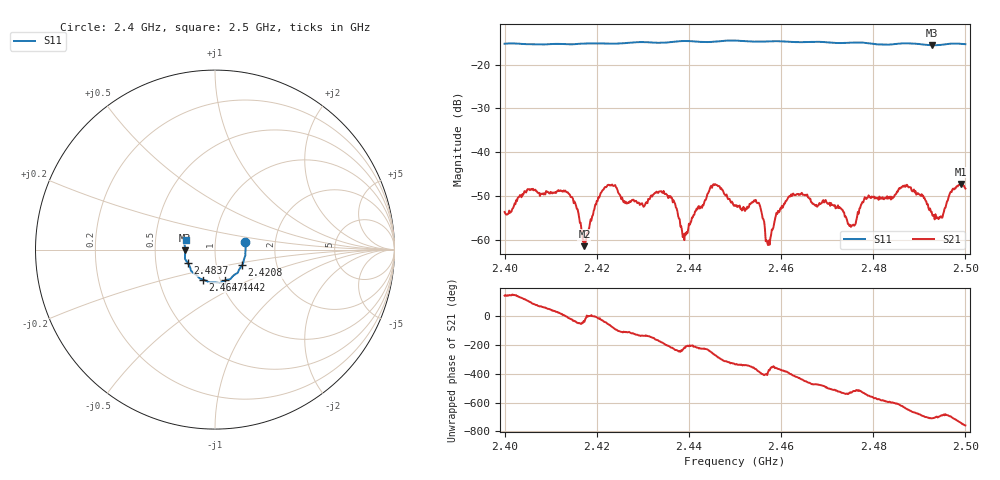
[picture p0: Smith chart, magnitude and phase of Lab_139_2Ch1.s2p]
# Hz S RI R 50
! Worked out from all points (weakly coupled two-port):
!   601 points, 2.4 GHz to 2.5 GHz, reference 50 ohm
!   highest |S21| = -47.25 dB at 2.499 GHz (marker M1); lowest = -61.4 dB at 2.4173 GHz (marker M2)
!   lowest |S11| = -15.6 dB at 2.4928 GHz (marker M3), VSWR 1.40, Z = 35.8 - j0.351 ohm
!   |S11| at or under -10 dB: start of sweep to end of sweep
!   S12 and S22 are empty: the file has one direction only
!   S11 on the Smith chart (normalised r, x): 2.4 GHz: 1.40, +0.12; 2.4208 GHz: 1.33, -0.24; 2.4442 GHz: 1.05, -0.37; 2.4647 GHz: 0.83, -0.29; 2.4837 GHz: 0.73, -0.11; 2.5 GHz: 0.72, +0.08
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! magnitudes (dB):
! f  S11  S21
! 2.4 GHz  -15.2  -53.6
! 2.4127 GHz  -15.3  -49.0
! 2.4167 GHz  -15.2  -57.6
! 2.4173 GHz  -15.2  -61.4
! 2.4208 GHz  -15.2  -49.3
! 2.4333 GHz  -15.0  -49.3
! 2.4392 GHz  -14.6  -58.5
! 2.4442 GHz  -14.9  -49.3
! 2.45 GHz  -14.5  -52.1
! 2.455 GHz  -14.8  -51.6
! 2.4572 GHz  -14.7  -61.2
! 2.4612 GHz  -14.8  -51.1
! 2.4647 GHz  -14.9  -49.7
! 2.4667 GHz  -14.8  -51.5
! 2.4753 GHz  -15.0  -56.7
! 2.4785 GHz  -15.1  -50.7
! 2.4833 GHz  -15.5  -50.2
! 2.4837 GHz  -15.4  -50.1
! 2.4877 GHz  -15.2  -48.0
! 2.4928 GHz  -15.6  -54.4
! 2.499 GHz  -15.3  -47.3
! 2.5 GHz  -15.4  -48.3
